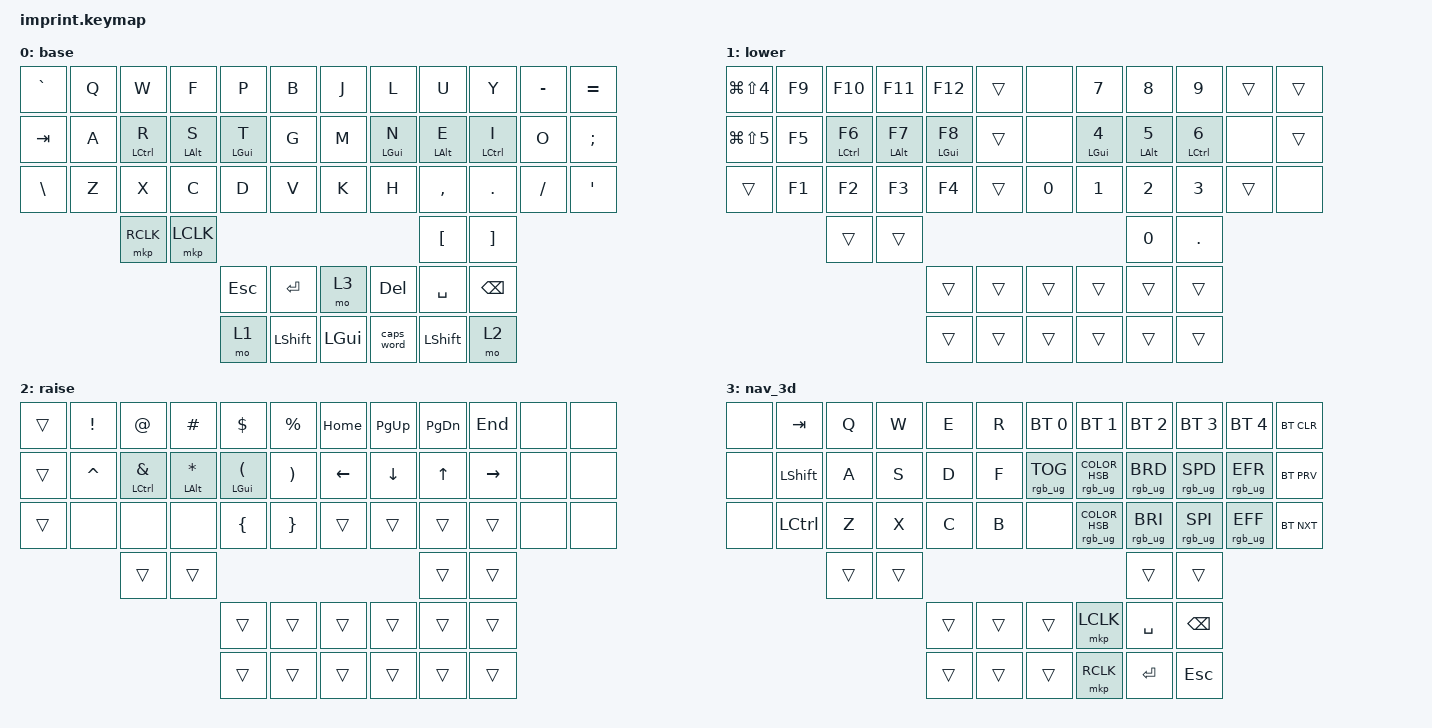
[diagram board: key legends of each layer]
#include <input/processors.dtsi>
#include <dt-bindings/zmk/input_transform.h>
#include <behaviors.dtsi>
#include <dt-bindings/zmk/bt.h>
#include <dt-bindings/zmk/keys.h>
#include <dt-bindings/zmk/pointing.h>
#include <dt-bindings/zmk/rgb.h>

/ {
    behaviors {
        hml: homewrow_mods_left {
            compatible = "zmk,behavior-hold-tap";
            label = "HOMEROW_MODS_LEFT_HAND";
            bindings = <&kp>, <&kp>;

            #binding-cells = <2>;
            tapping-term-ms = <280>;
            require-prior-idle-ms = <150>;
            flavor = "balanced";
            hold-trigger-key-positions = <6 7 8 9 10 11 18 19 20 21 22 23 30 31 32 33 34 35 38 43 44 45 49 50 51>;
            hold-trigger-on-release;
        };

        hmr: homewrow_mods_right {
            compatible = "zmk,behavior-hold-tap";
            label = "HOMEWROW_MODS_RIGHT";
            bindings = <&kp>, <&kp>;

            #binding-cells = <2>;
            tapping-term-ms = <280>;
            require-prior-idle-ms = <150>;
            flavor = "balanced";
            hold-trigger-key-positions = <0 1 2 3 4 5 12 13 14 15 16 17 24 25 26 27 28 29 36 37 40 41 42 46 47 48>;
            hold-trigger-on-release;
        };
    };

    chosen { zmk,matrix-transform = &imprint_letters_only; };

    combos {
        compatible = "zmk,combos";

        middle_click_combo {
            bindings = <&mkp MCLK>;
            key-positions = <36 37>;
        };
    };

    keymap {
        compatible = "zmk,keymap";

        default_layer {
            display-name = "base";
            bindings = <
&kp GRAVE      &kp Q  &kp W         &kp F        &kp P        &kp B                  &kp J       &kp L        &kp U        &kp Y         &kp MINUS  &kp EQUAL
&kp TAB        &kp A  &hml LCTRL R  &hml LALT S  &hml LGUI T  &kp G                  &kp M       &hmr LGUI N  &hmr LALT E  &hmr LCTRL I  &kp O      &kp SEMICOLON
&kp BACKSLASH  &kp Z  &kp X         &kp C        &kp D        &kp V                  &kp K       &kp H        &kp COMMA    &kp DOT       &kp SLASH  &kp SQT
                      &mkp RCLK     &mkp LCLK                                                                 &kp LBKT     &kp RBKT
                                                 &kp ESC      &kp ENTER  &mo 3       &kp DEL     &kp SPACE    &kp BSPC
                                                 &mo 1        &kp LSHFT  &kp LGUI    &caps_word  &kp LSHFT    &mo 2
            >;
        };

        lower {
            display-name = "lower";
            bindings = <
&kp LG(LS(N4))  &kp F9  &kp F10        &kp F11       &kp F12       &trans            &none   &kp N7        &kp N8        &kp N9         &trans  &trans
&kp LG(LS(N5))  &kp F5  &hml LCTRL F6  &hml LALT F7  &hml LGUI F8  &trans            &none   &hmr LGUI N4  &hmr LALT N5  &hmr LCTRL N6  &none   &trans
&trans          &kp F1  &kp F2         &kp F3        &kp F4        &trans            &kp N0  &kp N1        &kp N2        &kp N3         &trans  &none
                        &trans         &trans                                                              &kp N0        &kp DOT
                                                     &trans        &trans  &trans    &trans  &trans        &trans
                                                     &trans        &trans  &trans    &trans  &trans        &trans
            >;
        };

        raise {
            display-name = "raise";
            bindings = <
&trans  &kp EXCLAMATION  &kp AT           &kp HASH         &kp DOLLAR      &kp PERCENT            &kp HOME  &kp PAGE_UP  &kp PAGE_DOWN  &kp END    &none  &none
&trans  &kp CARET        &hml LCTRL AMPS  &hml LALT ASTRK  &hml LGUI LPAR  &kp RPAR               &kp LEFT  &kp DOWN     &kp UP         &kp RIGHT  &none  &none
&trans  &none            &none            &none            &kp LBRC        &kp RBRC               &trans    &trans       &trans         &trans     &none  &none
                         &trans           &trans                                                                         &trans         &trans
                                                           &trans          &trans       &trans    &trans    &trans       &trans
                                                           &trans          &trans       &trans    &trans    &trans       &trans
            >;
        };

        nav3d_layer {
            display-name = "nav_3d";
            bindings = <
&none  &kp TAB    &kp Q   &kp W   &kp E   &kp R             &bt BT_SEL 0     &bt BT_SEL 1                       &bt BT_SEL 2     &bt BT_SEL 3     &bt BT_SEL 4     &bt BT_CLR
&none  &kp LSHFT  &kp A   &kp S   &kp D   &kp F             &rgb_ug RGB_TOG  &rgb_ug RGB_COLOR_HSB(154,100,50)  &rgb_ug RGB_BRD  &rgb_ug RGB_SPD  &rgb_ug RGB_EFR  &bt BT_PRV
&none  &kp LCTRL  &kp Z   &kp X   &kp C   &kp B             &none            &rgb_ug RGB_COLOR_HSB(35,99,48)    &rgb_ug RGB_BRI  &rgb_ug RGB_SPI  &rgb_ug RGB_EFF  &bt BT_NXT
                  &trans  &trans                                                                                &trans           &trans
                                  &trans  &trans  &trans    &mkp LCLK        &kp SPACE                          &kp BACKSPACE
                                  &trans  &trans  &trans    &mkp RCLK        &kp ENTER                          &kp ESC
            >;
        };
    };
};

// right hand trackball configuration
// &trackball_peripheral_listener {
//    input-processors =
//     activate layer 3 within 500ms of the trackball moving
//     <&zip_temp_layer 3 500>;
// };
//left hand trackball configuration

&trackball_central_listener {
    input-processors =
        // multiply sensitivity by 1, divide by 3 (make it slower for scrolling),,,,,,,,,
        <&zip_xy_scaler 1 16>,
        // make this trackball output scrolling events by default instead of cursor movement,,,,,,,,,
        <&zip_xy_to_scroll_mapper>,
        // invert vertical scrolling so that the view moves in the same direction as the top of the trackball.,,,,,,,,,
        <&zip_scroll_transform INPUT_TRANSFORM_Y_INVERT>;
};
